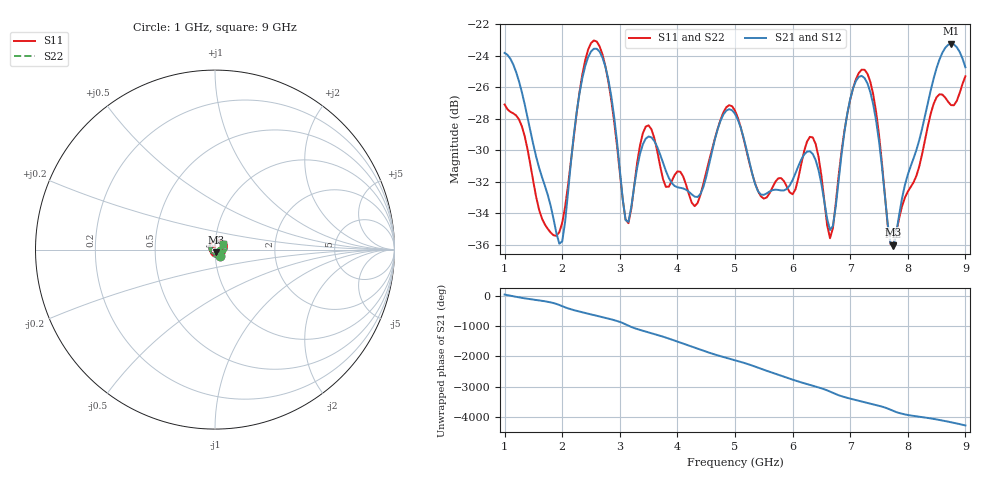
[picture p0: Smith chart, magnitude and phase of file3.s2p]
! Created Mon May 20 11:16:08 2013
# ghz S ma R 50
! 2 Port Network Data from SP1.SP block
! freq  magS11  angS11  magS21  angS21  magS12  angS12  magS22  angS22
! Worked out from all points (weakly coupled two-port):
!   161 points, 1 GHz to 9 GHz, reference 50 ohm
!   highest |S21| = -23.23 dB at 8.75 GHz (marker M1); lowest = -36.1 dB at 7.75 GHz (marker M2)
!   lowest |S11| = -36.0 dB at 7.75 GHz (marker M3), VSWR 1.03, Z = 50.7 - j1.43 ohm
!   |S11| at or under -10 dB: start of sweep to end of sweep
!   |S22| runs from -36.0 to -23.0 dB; largest |S21 - S12| = 0
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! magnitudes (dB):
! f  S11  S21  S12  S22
! 1 GHz  -27.1  -23.8  -23.8  -27.1
! 1.65 GHz  -34.3  -31.7  -31.7  -34.3
! 1.95 GHz  -35.2  -35.9  -35.9  -35.2
! 2.35 GHz  -25.2  -25.4  -25.4  -25.2
! 2.7 GHz  -23.9  -24.1  -24.1  -23.9
! 3.1 GHz  -34.4  -34.4  -34.4  -34.4
! 3.45 GHz  -28.5  -29.3  -29.3  -28.5
! 3.7 GHz  -31.0  -30.3  -30.3  -31.0
! 4.3 GHz  -33.5  -32.9  -32.9  -33.5
! 5 GHz  -27.5  -27.7  -27.7  -27.5
! 5.5 GHz  -33.1  -32.8  -32.8  -33.1
! 6 GHz  -32.8  -31.9  -31.9  -32.8
! 6.35 GHz  -29.2  -30.2  -30.2  -29.2
! 6.65 GHz  -35.6  -35.0  -35.0  -35.6
! 7 GHz  -26.8  -26.7  -26.7  -26.8
! 7.25 GHz  -24.9  -25.4  -25.4  -24.9
! 7.45 GHz  -27.6  -28.1  -28.1  -27.6
! 7.7 GHz  -35.9  -35.9  -35.9  -35.9
! 7.75 GHz  -36.0  -36.1  -36.1  -36.0
! 8.45 GHz  -27.0  -25.4  -25.4  -27.0
! 8.75 GHz  -27.1  -23.2  -23.2  -27.1
! 9 GHz  -25.3  -24.7  -24.7  -25.3
